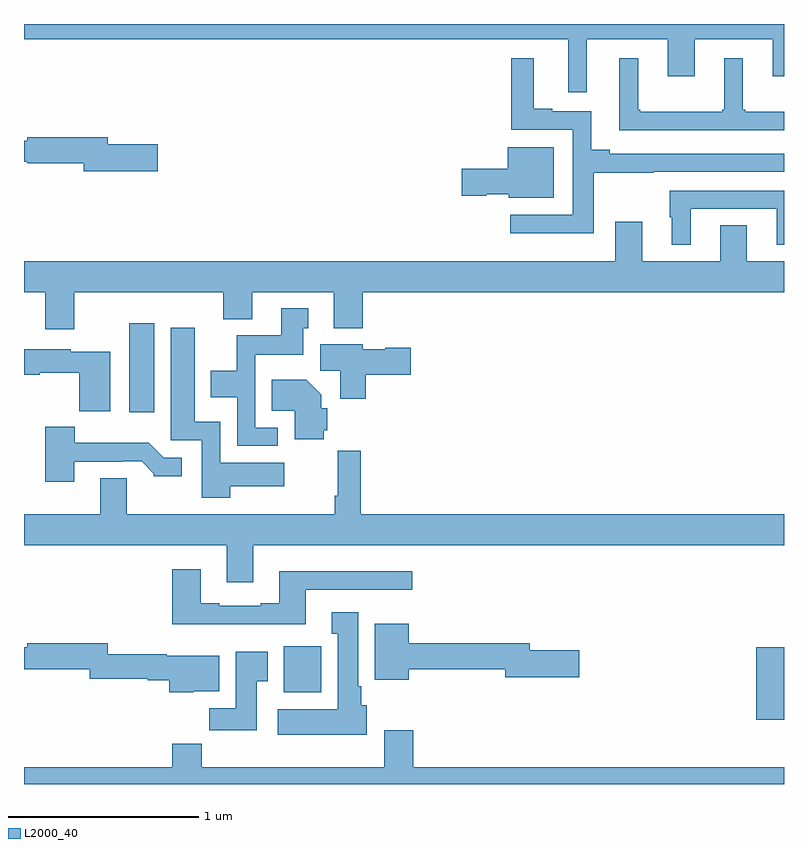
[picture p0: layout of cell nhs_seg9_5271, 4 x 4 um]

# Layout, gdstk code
import gdstk
lib = gdstk.Library(unit=1e-6, precision=1e-09)
def R(c, l, rs):  # rectangles x0, y0, x1, y1
    for r in rs: c.add(gdstk.rectangle(r[:2], r[2:], *l))
def P(c, l, *ps):  # polygons
    for p in ps: c.add(gdstk.Polygon(p, *l))
L2000_40 = (2000, 40)

nhs_seg9_5271 = lib.new_cell('nhs_seg9_5271')
R(nhs_seg9_5271, L2000_40, [(420.854,1192.839,421,1193.22), (418.367,1192.982,418.564,1193.224), (417.554,1194.456,417.685,1194.925)])
P(nhs_seg9_5271, L2000_40, [(419.962,1196.42),(420.389,1196.42),(420.389,1196.226),(420.529,1196.226),(420.529,1196.42),(420.941,1196.42),(420.941,1196.226),(421,1196.226),(421,1196.5),(417,1196.5),(417,1196.42),(419.864,1196.42),(419.864,1196.142),(419.962,1196.142)],
  [(419.998,1195.717),(420.314,1195.717),(420.314,1195.722),(421,1195.722),(421,1195.818),(420.082,1195.818),(420.082,1195.838),(419.986,1195.838),(419.986,1196.04),(419.779,1196.04),(419.779,1196.053),(419.683,1196.053),(419.683,1196.32),(419.565,1196.32),(419.565,1195.944),(419.889,1195.944),(419.889,1195.497),(419.559,1195.497),(419.559,1195.4),(419.998,1195.4)],
  [(421,1196.039),(420.796,1196.039),(420.796,1196.05),(420.784,1196.05),(420.784,1196.32),(420.686,1196.32),(420.686,1196.05),(420.675,1196.05),(420.675,1196.039),(420.244,1196.039),(420.244,1196.05),(420.232,1196.05),(420.232,1196.32),(420.134,1196.32),(420.134,1195.941),(421,1195.941)],
  [(417.703,1195.868),(417.442,1195.868),(417.442,1195.904),(417.016,1195.904),(417.016,1195.885),(417,1195.885),(417,1195.776),(417.018,1195.776),(417.018,1195.768),(417.314,1195.768),(417.314,1195.726),(417.703,1195.726)],
  [(419.788,1195.852),(419.546,1195.852),(419.546,1195.739),(419.304,1195.739),(419.304,1195.597),(419.433,1195.597),(419.433,1195.604),(419.55,1195.604),(419.55,1195.586),(419.788,1195.586)],
  [(420.508,1195.527),(420.962,1195.527),(420.962,1195.337),(421,1195.337),(421,1195.623),(420.399,1195.623),(420.399,1195.484),(420.41,1195.484),(420.41,1195.337),(420.508,1195.337)],
  [(417.265,1195.088),(418.049,1195.088),(418.049,1194.947),(418.201,1194.947),(418.201,1195.088),(418.631,1195.088),(418.631,1194.899),(418.784,1194.899),(418.784,1195.088),(421,1195.088),(421,1195.252),(420.805,1195.252),(420.805,1195.442),(420.665,1195.442),(420.665,1195.252),(420.253,1195.252),(420.253,1195.459),(420.113,1195.459),(420.113,1195.252),(417,1195.252),(417,1195.088),(417.113,1195.088),(417.113,1194.894),(417.265,1194.894)],
  [(418.336,1194.375),(418.218,1194.375),(418.218,1194.758),(418.471,1194.758),(418.471,1194.9),(418.495,1194.9),(418.495,1195.003),(418.355,1195.003),(418.355,1194.862),(418.12,1194.862),(418.12,1194.676),(417.983,1194.676),(417.983,1194.536),(418.122,1194.536),(418.122,1194.279),(418.336,1194.279)],
  [(418.085,1194.068),(418.369,1194.068),(418.369,1194.19),(418.032,1194.19),(418.032,1194.406),(417.898,1194.406),(417.898,1194.901),(417.773,1194.901),(417.773,1194.309),(417.936,1194.309),(417.936,1194.006),(418.085,1194.006)],
  [(418.799,1194.653),(419.035,1194.653),(419.035,1194.795),(418.902,1194.795),(418.902,1194.787),(418.782,1194.787),(418.782,1194.814),(418.559,1194.814),(418.559,1194.676),(418.664,1194.676),(418.664,1194.528),(418.799,1194.528)],
  [(417.454,1194.775),(417.246,1194.775),(417.246,1194.787),(417,1194.787),(417,1194.653),(417.084,1194.653),(417.084,1194.665),(417.292,1194.665),(417.292,1194.461),(417.454,1194.461)],
  [(418.577,1194.363),(418.595,1194.363),(418.595,1194.477),(418.564,1194.477),(418.564,1194.55),(418.486,1194.628),(418.303,1194.628),(418.303,1194.464),(418.424,1194.464),(418.424,1194.314),(418.577,1194.314)],
  [(417.265,1194.195),(417.521,1194.195),(417.521,1194.198),(417.62,1194.198),(417.684,1194.134),(417.684,1194.119),(417.829,1194.119),(417.829,1194.216),(417.735,1194.216),(417.657,1194.295),(417.268,1194.295),(417.268,1194.379),(417.113,1194.379),(417.113,1194.09),(417.265,1194.09)],
  [(418.207,1193.756),(421,1193.756),(421,1193.92),(418.772,1193.92),(418.772,1194.253),(418.651,1194.253),(418.651,1194.016),(418.636,1194.016),(418.636,1193.92),(417.541,1193.92),(417.541,1194.11),(417.401,1194.11),(417.401,1193.92),(417,1193.92),(417,1193.756),(418.067,1193.756),(418.067,1193.562),(418.207,1193.562)],
  [(418.483,1193.523),(419.044,1193.523),(419.044,1193.62),(418.343,1193.62),(418.343,1193.452),(418.247,1193.452),(418.247,1193.439),(418.027,1193.439),(418.027,1193.452),(417.931,1193.452),(417.931,1193.629),(417.779,1193.629),(417.779,1193.342),(418.483,1193.342)],
  [(418.804,1192.914),(418.774,1192.914),(418.774,1193.014),(418.759,1193.014),(418.759,1193.404),(418.619,1193.404),(418.619,1193.291),(418.652,1193.291),(418.652,1192.894),(418.335,1192.894),(418.335,1192.76),(418.804,1192.76)],
  [(419.026,1193.104),(419.534,1193.104),(419.534,1193.062),(419.923,1193.062),(419.923,1193.204),(419.662,1193.204),(419.662,1193.24),(419.026,1193.24),(419.026,1193.344),(418.847,1193.344),(418.847,1193.048),(419.026,1193.048)],
  [(417.894,1192.988),(418.027,1192.988),(418.027,1193.176),(417.751,1193.176),(417.751,1193.183),(417.441,1193.183),(417.441,1193.24),(417.016,1193.24),(417.016,1193.221),(417,1193.221),(417,1193.104),(417.345,1193.104),(417.345,1193.055),(417.651,1193.055),(417.651,1193.047),(417.764,1193.047),(417.764,1192.982),(417.894,1192.982)],
  [(418.225,1193.041),(418.282,1193.041),(418.282,1193.197),(418.115,1193.197),(418.115,1192.9),(417.976,1192.9),(417.976,1192.782),(418.225,1192.782)],
  [(421,1192.588),(419.048,1192.588),(419.048,1192.783),(418.895,1192.783),(418.895,1192.588),(417.935,1192.588),(417.935,1192.712),(417.779,1192.712),(417.779,1192.588),(417,1192.588),(417,1192.5),(421,1192.5)])

lib.write_gds('nhs_seg9_5271.gds')
